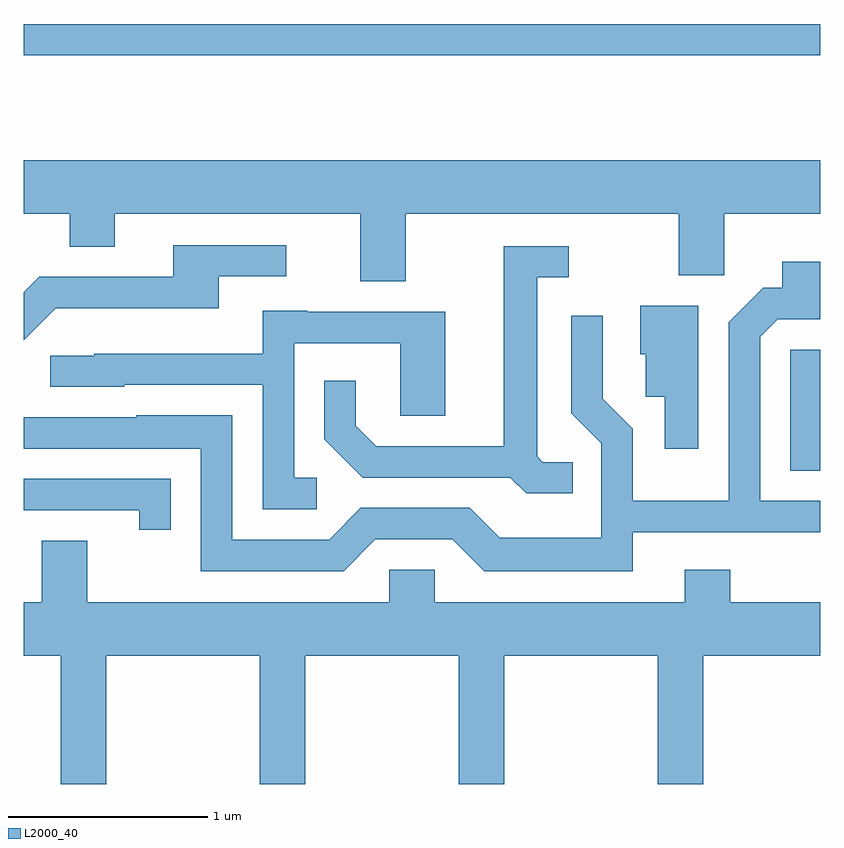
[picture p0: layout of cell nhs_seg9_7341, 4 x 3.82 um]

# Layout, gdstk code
import gdstk
lib = gdstk.Library(unit=1e-6, precision=1e-09)
def R(c, l, rs):  # rectangles x0, y0, x1, y1
    for r in rs: c.add(gdstk.rectangle(r[:2], r[2:], *l))
def P(c, l, *ps):  # polygons
    for p in ps: c.add(gdstk.Polygon(p, *l))
L2000_40 = (2000, 40)

nhs_seg9_7341 = lib.new_cell('nhs_seg9_7341')
R(nhs_seg9_7341, L2000_40, [(405.461,2066.006,405.611,2066.614), (401.611,2068.091,405.611,2068.249)])
P(nhs_seg9_7341, L2000_40, [(403.529,2067.296),(404.901,2067.296),(404.901,2066.986),(405.129,2066.986),(405.129,2067.296),(405.611,2067.296),(405.611,2067.564),(401.611,2067.564),(401.611,2067.296),(401.841,2067.296),(401.841,2067.131),(402.069,2067.131),(402.069,2067.296),(403.301,2067.296),(403.301,2066.956),(403.529,2066.956)],
  [(401.772,2066.821),(402.589,2066.821),(402.589,2066.981),(402.928,2066.981),(402.928,2067.139),(402.361,2067.139),(402.361,2066.979),(401.689,2066.979),(401.611,2066.901),(401.611,2066.66)],
  [(404.368,2066.049),(404.217,2066.049),(404.189,2066.077),(404.189,2066.976),(404.348,2066.976),(404.348,2067.134),(404.021,2067.134),(404.021,2066.129),(403.382,2066.129),(403.279,2066.231),(403.279,2066.458),(403.121,2066.458),(403.121,2066.164),(403.314,2065.971),(404.054,2065.971),(404.134,2065.891),(404.368,2065.891)],
  [(403.377,2065.661),(403.764,2065.661),(403.924,2065.501),(404.669,2065.501),(404.669,2065.696),(405.611,2065.696),(405.611,2065.854),(405.309,2065.854),(405.309,2066.679),(405.397,2066.766),(405.611,2066.766),(405.611,2067.054),(405.421,2067.054),(405.421,2066.924),(405.324,2066.924),(405.151,2066.751),(405.151,2065.854),(404.669,2065.854),(404.669,2066.217),(404.519,2066.367),(404.519,2066.783),(404.361,2066.783),(404.361,2066.294),(404.511,2066.144),(404.511,2065.669),(404.002,2065.669),(403.852,2065.819),(403.304,2065.819),(403.144,2065.659),(402.659,2065.659),(402.659,2066.284),(402.175,2066.284),(402.175,2066.274),(401.611,2066.274),(401.611,2066.116),(402.501,2066.116),(402.501,2065.501),(403.217,2065.501)],
  [(404.999,2066.834),(404.706,2066.834),(404.706,2066.591),(404.736,2066.591),(404.736,2066.376),(404.831,2066.376),(404.831,2066.117),(404.999,2066.117)],
  [(403.083,2065.969),(402.969,2065.969),(402.969,2066.646),(403.501,2066.646),(403.501,2066.281),(403.729,2066.281),(403.729,2066.804),(403.035,2066.804),(403.035,2066.809),(402.811,2066.809),(402.811,2066.594),(401.965,2066.594),(401.965,2066.584),(401.743,2066.584),(401.743,2066.426),(402.115,2066.426),(402.115,2066.436),(402.811,2066.436),(402.811,2065.811),(403.083,2065.811)],
  [(402.349,2065.964),(401.611,2065.964),(401.611,2065.806),(402.191,2065.806),(402.191,2065.708),(402.349,2065.708)],
  [(402.024,2065.076),(402.796,2065.076),(402.796,2064.432),(403.024,2064.432),(403.024,2065.076),(403.796,2065.076),(403.796,2064.432),(404.024,2064.432),(404.024,2065.076),(404.796,2065.076),(404.796,2064.432),(405.024,2064.432),(405.024,2065.076),(405.611,2065.076),(405.611,2065.344),(405.159,2065.344),(405.159,2065.509),(404.931,2065.509),(404.931,2065.344),(403.674,2065.344),(403.674,2065.509),(403.446,2065.509),(403.446,2065.344),(401.929,2065.344),(401.929,2065.654),(401.701,2065.654),(401.701,2065.344),(401.611,2065.344),(401.611,2065.076),(401.796,2065.076),(401.796,2064.432),(402.024,2064.432)])

lib.write_gds('nhs_seg9_7341.gds')
